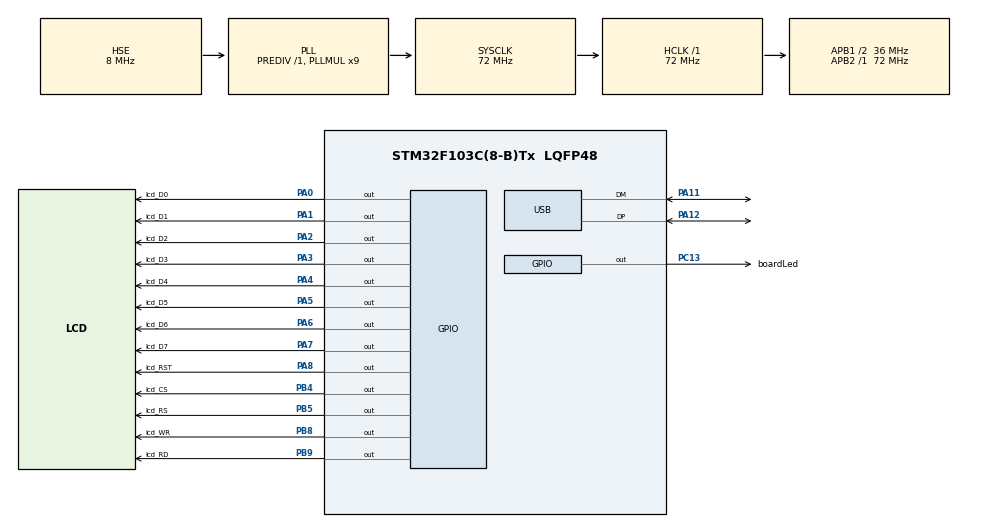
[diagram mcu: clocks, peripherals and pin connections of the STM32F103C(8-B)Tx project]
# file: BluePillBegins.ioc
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Mcu.Family=STM32F1
Mcu.Name=STM32F103C(8-B)Tx
Mcu.Package=LQFP48
NVIC.PriorityGroup=NVIC_PRIORITYGROUP_4
NVIC.USB_LP_CAN1_RX0_IRQn=true\:0\:0\:false\:false\:true\:false\:true
PA0-WKUP.GPIO_Label=lcd_D0
PA0-WKUP.Signal=GPIO_Output
PA1.GPIO_Label=lcd_D1
PA1.Signal=GPIO_Output
PA11.Mode=Device
PA11.Signal=USB_DM
PA12.Mode=Device
PA12.Signal=USB_DP
PA13.Mode=Serial_Wire
PA13.Signal=SYS_JTMS-SWDIO
PA14.Mode=Serial_Wire
PA14.Signal=SYS_JTCK-SWCLK
PA2.GPIO_Label=lcd_D2
PA2.Signal=GPIO_Output
PA3.GPIO_Label=lcd_D3
PA3.Signal=GPIO_Output
PA4.GPIO_Label=lcd_D4
PA4.Signal=GPIO_Output
PA5.GPIO_Label=lcd_D5
PA5.Signal=GPIO_Output
PA6.GPIO_Label=lcd_D6
PA6.Signal=GPIO_Output
PA7.GPIO_Label=lcd_D7
PA7.Signal=GPIO_Output
PA8.GPIO_Label=lcd_RST
PA8.Signal=GPIO_Output
PB4.GPIO_Label=lcd_CS
PB4.Signal=GPIO_Output
PB5.GPIO_Label=lcd_RS
PB5.Signal=GPIO_Output
PB8.GPIO_Label=lcd_WR
PB8.Signal=GPIO_Output
PB9.GPIO_Label=lcd_RD
PB9.Signal=GPIO_Output
PC13-TAMPER-RTC.GPIO_Label=boardLed
PC13-TAMPER-RTC.PinState=GPIO_PIN_SET
PC13-TAMPER-RTC.Signal=GPIO_Output
PD0-OSC_IN.Mode=HSE-External-Oscillator
PD0-OSC_IN.Signal=RCC_OSC_IN
PD1-OSC_OUT.Mode=HSE-External-Oscillator
PD1-OSC_OUT.Signal=RCC_OSC_OUT
ProjectManager.HeapSize=0x200
ProjectManager.StackSize=0x400
ProjectManager.TargetToolchain=STM32CubeIDE
RCC.AHBFreq_Value=72000000
RCC.APB1CLKDivider=RCC_HCLK_DIV2
RCC.APB1Freq_Value=36000000
RCC.APB1TimFreq_Value=72000000
RCC.APB2Freq_Value=72000000
RCC.APB2TimFreq_Value=72000000
RCC.HCLKFreq_Value=72000000
RCC.PLLMUL=RCC_PLL_MUL9
RCC.SYSCLKFreq_VALUE=72000000
RCC.SYSCLKSource=RCC_SYSCLKSOURCE_PLLCLK
RCC.USBFreq_Value=48000000
RCC.USBPrescaler=RCC_USBCLKSOURCE_PLL_DIV1_5
USB_DEVICE.CLASS_NAME_FS=CDC
USB_DEVICE.VirtualMode=Cdc
USB_DEVICE.VirtualModeFS=Cdc_FS
VP_USB_DEVICE_VS_USB_DEVICE_CDC_FS.Mode=CDC_FS
board=custom

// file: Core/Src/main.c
/* USER CODE BEGIN Header */
/**
  ******************************************************************************
  * @file           : main.c
  * @brief          : Main program body
  ******************************************************************************
  * @attention
  *
  * <h2><center>&copy; Copyright (c) 2020 STMicroelectronics.
  * All rights reserved.</center></h2>
  *
  * This software component is licensed by ST under BSD 3-Clause license,
  * the "License"; You may not use this file except in compliance with the
  * License. You may obtain a copy of the License at:
  *                        opensource.org/licenses/BSD-3-Clause
  *
  ******************************************************************************
  */
/* USER CODE END Header */

#include "main.h"
#include "usb_device.h"

/* USER CODE BEGIN Includes */
#include "usbd_cdc_if.h"

/* USER CODE END Includes */

void SystemClock_Config(void);
static void MX_GPIO_Init(void);

int main(void)
{
  /* USER CODE BEGIN 1 */
	// Para monitorizar el paso por el bucle principal:
	uint32_t blink_timer = HAL_GetTick() + 499;

  /* USER CODE END 1 */

  /* MCU Configuration--------------------------------------------------------*/

  /* Reset of all peripherals, Initializes the Flash interface and the Systick. */
  HAL_Init();

  /* Configure the system clock */
  SystemClock_Config();

  /* Initialize all configured peripherals */
  MX_GPIO_Init();
  MX_USB_DEVICE_Init();
  /* USER CODE BEGIN 2 */

  // Se arranca el display
  lcd_startup();

#define X0 10
#define Y0 10
#define Xf 229
#define Yf 309

  lcd_draw_vline(X0,0, 319, ILI9341_LIGHTGREY);
  lcd_draw_vline(Xf,0, 319, ILI9341_DARKGREY);
  lcd_draw_hline(0, Y0, 239, ILI9341_LIGHTGREY);
  lcd_draw_hline(0, Yf, 239, ILI9341_DARKGREY);

  lcd_draw_fill_rect(25, 20, 50, 80, ILI9341_GREEN );

  lcd_draw_fill_rect(125, 20, 50, 80, ILI9341_RED );

  lcd_draw_line(X0, Y0, Xf, Yf, ILI9341_BLUE);
  lcd_draw_line(Xf, Y0, X0, Yf, ILI9341_BLUE);

  lcd_draw_fill_rect(0, 300, 239, 310, ILI9341_YELLOW );

  /* USER CODE END 2 */

  /* Infinite loop */
  /* USER CODE BEGIN WHILE */

	//extern USBD_HandleTypeDef hUsbDeviceFS;

	// buffer para montar el texto que se enviará al USB-CDC
	char strbuf[256];
	uint16_t count = 0;

	// Espera hasta que se conecte
	//while (hUsbDeviceFS.dev_state != USBD_STATE_CONFIGURED);

  while (1)
  {
	  // Monitor de funcionamiento
	  if(HAL_GetTick() > blink_timer) {
		  blink_timer = HAL_GetTick() + 499;
		  HAL_GPIO_TogglePin(boardLed_GPIO_Port, boardLed_Pin);
		  //sprintf(strbuf, "Contador = %u\n", count++);
		  //CDC_Transmit_FS((uint8_t*)strbuf, strlen(strbuf));
	  }

    /* USER CODE END WHILE */

  }
}

void SystemClock_Config(void)
{
  RCC_OscInitTypeDef RCC_OscInitStruct = {0};
  RCC_ClkInitTypeDef RCC_ClkInitStruct = {0};
  RCC_PeriphCLKInitTypeDef PeriphClkInit = {0};

  /** Initializes the CPU, AHB and APB busses clocks
  */
  RCC_OscInitStruct.OscillatorType = RCC_OSCILLATORTYPE_HSE;
  RCC_OscInitStruct.HSEState = RCC_HSE_ON;
  RCC_OscInitStruct.HSEPredivValue = RCC_HSE_PREDIV_DIV1;
  RCC_OscInitStruct.HSIState = RCC_HSI_ON;
  RCC_OscInitStruct.PLL.PLLState = RCC_PLL_ON;
  RCC_OscInitStruct.PLL.PLLSource = RCC_PLLSOURCE_HSE;
  RCC_OscInitStruct.PLL.PLLMUL = RCC_PLL_MUL9;
  if (HAL_RCC_OscConfig(&RCC_OscInitStruct) != HAL_OK)
  {
    Error_Handler();
  }
  /** Initializes the CPU, AHB and APB busses clocks
  */
  RCC_ClkInitStruct.ClockType = RCC_CLOCKTYPE_HCLK|RCC_CLOCKTYPE_SYSCLK
                              |RCC_CLOCKTYPE_PCLK1|RCC_CLOCKTYPE_PCLK2;
  RCC_ClkInitStruct.SYSCLKSource = RCC_SYSCLKSOURCE_PLLCLK;
  RCC_ClkInitStruct.AHBCLKDivider = RCC_SYSCLK_DIV1;
  RCC_ClkInitStruct.APB1CLKDivider = RCC_HCLK_DIV2;
  RCC_ClkInitStruct.APB2CLKDivider = RCC_HCLK_DIV1;

  if (HAL_RCC_ClockConfig(&RCC_ClkInitStruct, FLASH_LATENCY_2) != HAL_OK)
  {
    Error_Handler();
  }
  PeriphClkInit.PeriphClockSelection = RCC_PERIPHCLK_USB;
  PeriphClkInit.UsbClockSelection = RCC_USBCLKSOURCE_PLL_DIV1_5;
  if (HAL_RCCEx_PeriphCLKConfig(&PeriphClkInit) != HAL_OK)
  {
    Error_Handler();
  }
}

static void MX_GPIO_Init(void)
{
  GPIO_InitTypeDef GPIO_InitStruct = {0};

  /* GPIO Ports Clock Enable */
  __HAL_RCC_GPIOC_CLK_ENABLE();
  __HAL_RCC_GPIOD_CLK_ENABLE();
  __HAL_RCC_GPIOA_CLK_ENABLE();
  __HAL_RCC_GPIOB_CLK_ENABLE();

  /*Configure GPIO pin Output Level */
  HAL_GPIO_WritePin(boardLed_GPIO_Port, boardLed_Pin, GPIO_PIN_SET);

  /*Configure GPIO pin Output Level */
  HAL_GPIO_WritePin(GPIOA, lcd_D0_Pin|lcd_D1_Pin|lcd_D2_Pin|lcd_D3_Pin
                          |lcd_D4_Pin|lcd_D5_Pin|lcd_D6_Pin|lcd_D7_Pin
                          |lcd_RST_Pin, GPIO_PIN_RESET);

  /*Configure GPIO pin Output Level */
  HAL_GPIO_WritePin(GPIOB, lcd_CS_Pin|lcd_RS_Pin|lcd_WR_Pin|lcd_RD_Pin, GPIO_PIN_RESET);

  /*Configure GPIO pin : boardLed_Pin */
  GPIO_InitStruct.Pin = boardLed_Pin;
  GPIO_InitStruct.Mode = GPIO_MODE_OUTPUT_PP;
  GPIO_InitStruct.Pull = GPIO_NOPULL;
  GPIO_InitStruct.Speed = GPIO_SPEED_FREQ_LOW;
  HAL_GPIO_Init(boardLed_GPIO_Port, &GPIO_InitStruct);

  /*Configure GPIO pins : lcd_D0_Pin lcd_D1_Pin lcd_D2_Pin lcd_D3_Pin
                           lcd_D4_Pin lcd_D5_Pin lcd_D6_Pin lcd_D7_Pin
                           lcd_RST_Pin */
  GPIO_InitStruct.Pin = lcd_D0_Pin|lcd_D1_Pin|lcd_D2_Pin|lcd_D3_Pin
                          |lcd_D4_Pin|lcd_D5_Pin|lcd_D6_Pin|lcd_D7_Pin
                          |lcd_RST_Pin;
  GPIO_InitStruct.Mode = GPIO_MODE_OUTPUT_PP;
  GPIO_InitStruct.Pull = GPIO_NOPULL;
  GPIO_InitStruct.Speed = GPIO_SPEED_FREQ_LOW;
  HAL_GPIO_Init(GPIOA, &GPIO_InitStruct);

  /*Configure GPIO pins : lcd_CS_Pin lcd_RS_Pin lcd_WR_Pin lcd_RD_Pin */
  GPIO_InitStruct.Pin = lcd_CS_Pin|lcd_RS_Pin|lcd_WR_Pin|lcd_RD_Pin;
  GPIO_InitStruct.Mode = GPIO_MODE_OUTPUT_PP;
  GPIO_InitStruct.Pull = GPIO_NOPULL;
  GPIO_InitStruct.Speed = GPIO_SPEED_FREQ_LOW;
  HAL_GPIO_Init(GPIOB, &GPIO_InitStruct);

}

void Error_Handler(void)
{
}

/************************ (C) COPYRIGHT STMicroelectronics *****END OF FILE****/
